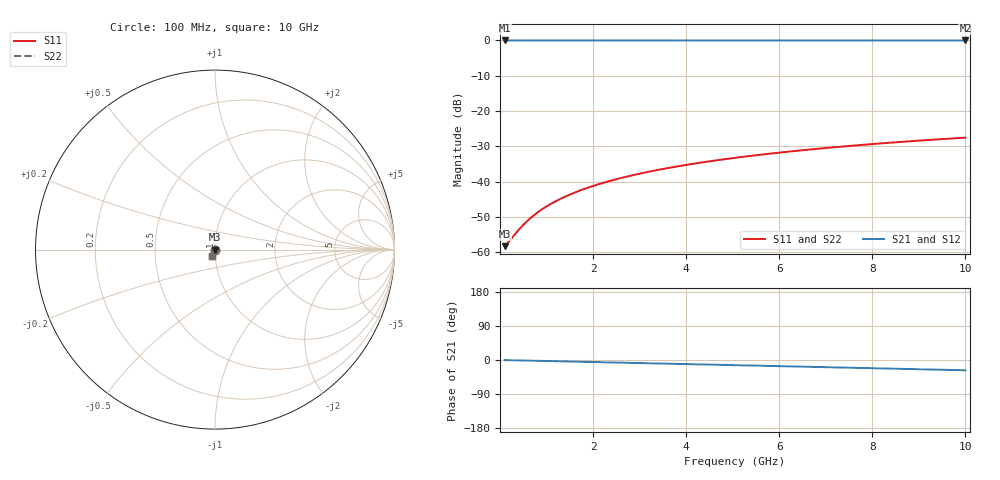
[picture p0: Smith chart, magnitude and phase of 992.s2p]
# Hz S RI R 50.00
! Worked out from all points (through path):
!   100 points, 100 MHz to 10 GHz, reference 50 ohm
!   highest |S21| = -0.01 dB at 100 MHz (marker M1); lowest = 0.0 dB at 10 GHz (marker M2)
!   group delay of S21, straight-line fit = 7.54 ps
!   lowest |S11| = -58.3 dB at 100 MHz (marker M3), VSWR 1.00, Z = 50.1 - j0.0434 ohm
!   |S11| at or under -10 dB: start of sweep to end of sweep
!   |S22| runs from -58.3 to -27.6 dB; largest |S21 - S12| = 0
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1e8  0.00113 -0.000433  0.9988 -0.00469  0.9988 -0.00469  0.00113 -0.000433
2e8  0.00113 -0.000866  0.9988 -0.00939  0.9988 -0.00939  0.00113 -0.000866
4e8  0.00111 -0.00173  0.9987 -0.0188  0.9987 -0.0188  0.00111 -0.00173
5e8  0.00109 -0.00216  0.9986 -0.0235  0.9986 -0.0235  0.00109 -0.00216
6e8  0.00107 -0.0026  0.9984 -0.0282  0.9984 -0.0282  0.00107 -0.0026
7e8  0.00105 -0.00303  0.9983 -0.0329  0.9983 -0.0329  0.00105 -0.00303
8e8  0.00102 -0.00346  0.9981 -0.0376  0.9981 -0.0376  0.00102 -0.00346
1e9  0.000946 -0.00433  0.9977 -0.0469  0.9977 -0.0469  0.000946 -0.00433
1.2e9  0.000857 -0.00519  0.9972 -0.0563  0.9972 -0.0563  0.000857 -0.00519
1.5e9  0.000692 -0.00649  0.9963 -0.0704  0.9963 -0.0704  0.000692 -0.00649
1.8e9  0.000489 -0.00778  0.9952 -0.0844  0.9952 -0.0844  0.000489 -0.00778
2.1e9  0.00025 -0.00907  0.9938 -0.0985  0.9938 -0.0985  0.00025 -0.00907
2.5e9  -0.000125 -0.0108  0.9918 -0.1172  0.9918 -0.1172  -0.000125 -0.0108
2.9e9  -0.000566 -0.0125  0.9894 -0.1359  0.9894 -0.1359  -0.000566 -0.0125
3.4e9  -0.00121 -0.0146  0.9858 -0.1592  0.9858 -0.1592  -0.00121 -0.0146
4.2e9  -0.00244 -0.0179  0.979 -0.1963  0.979 -0.1963  -0.00244 -0.0179
5.1e9  -0.00412 -0.0215  0.9697 -0.2378  0.9697 -0.2378  -0.00412 -0.0215
5.9e9  -0.00587 -0.0245  0.9598 -0.2743  0.9598 -0.2743  -0.00587 -0.0245
6.7e9  -0.00785 -0.0275  0.9486 -0.3105  0.9486 -0.3105  -0.00785 -0.0275
7.5e9  -0.01 -0.0303  0.936 -0.3464  0.936 -0.3464  -0.01 -0.0303
8.4e9  -0.0128 -0.0332  0.9201 -0.3861  0.9201 -0.3861  -0.0128 -0.0332
1e10  -0.0182 -0.0377  0.8877 -0.4551  0.8877 -0.4551  -0.0182 -0.0377
